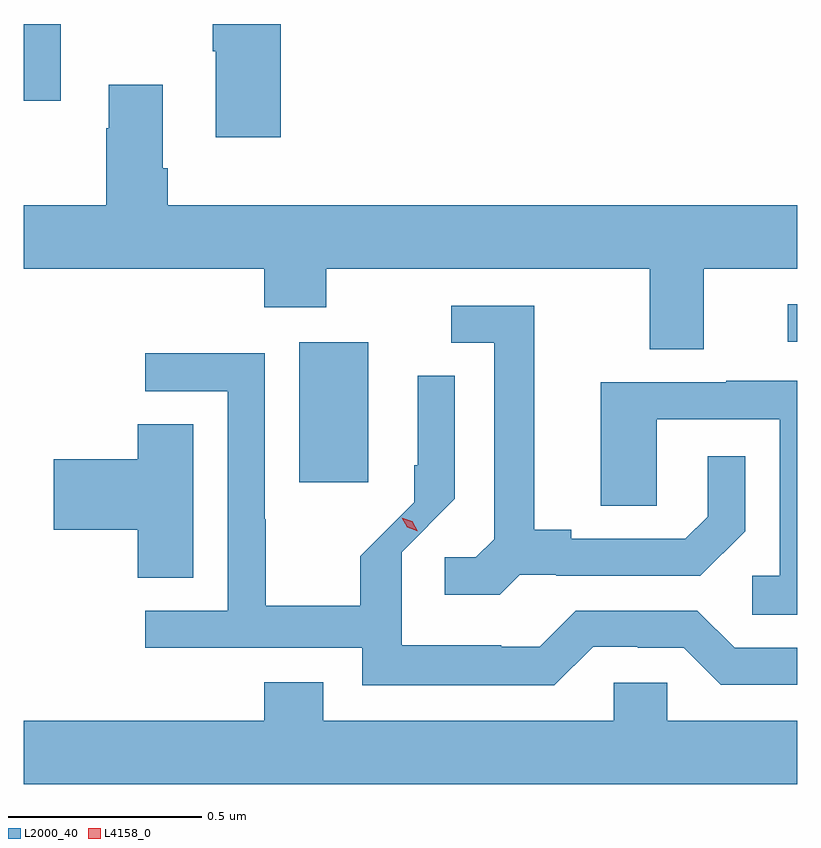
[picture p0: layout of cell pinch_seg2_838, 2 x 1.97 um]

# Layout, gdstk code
import gdstk
lib = gdstk.Library(unit=1e-6, precision=1e-09)
def R(c, l, rs):  # rectangles x0, y0, x1, y1
    for r in rs: c.add(gdstk.rectangle(r[:2], r[2:], *l))
def P(c, l, *ps):  # polygons
    for p in ps: c.add(gdstk.Polygon(p, *l))
L2000_40 = (2000, 40)
L4158_0 = (4158, 0)

pinch_seg2_838 = lib.new_cell('pinch_seg2_838')
R(pinch_seg2_838, L2000_40, [(675.257,592.472,675.436,592.834), (676.521,592.836,676.545,592.932), (674.545,593.459,674.641,593.657)])
P(pinch_seg2_838, L2000_40, [(675.209,593.657),(675.034,593.657),(675.034,593.587),(675.041,593.587),(675.041,593.364),(675.209,593.364)],
  [(676.303,593.024),(676.545,593.024),(676.545,593.188),(674.918,593.188),(674.918,593.284),(674.905,593.284),(674.905,593.5),(674.765,593.5),(674.765,593.387),(674.758,593.387),(674.758,593.188),(674.545,593.188),(674.545,593.024),(675.167,593.024),(675.167,592.925),(675.327,592.925),(675.327,593.024),(676.163,593.024),(676.163,592.816),(676.303,592.816)],
  [(675.828,592.233),(675.922,592.233),(675.922,592.23),(676.294,592.23),(676.41,592.346),(676.41,592.54),(676.313,592.54),(676.313,592.383),(676.256,592.326),(675.961,592.326),(675.961,592.349),(675.865,592.349),(675.865,592.929),(675.651,592.929),(675.651,592.833),(675.761,592.833),(675.761,592.325),(675.714,592.278),(675.633,592.278),(675.633,592.181),(675.776,592.181)],
  [(676.017,592.047),(676.133,592.047),(676.133,592.044),(676.251,592.044),(676.347,591.948),(676.545,591.948),(676.545,592.044),(676.383,592.044),(676.287,592.14),(675.972,592.14),(675.879,592.047),(675.779,592.047),(675.779,592.051),(675.522,592.051),(675.522,592.291),(675.66,592.429),(675.66,592.748),(675.564,592.748),(675.564,592.516),(675.555,592.516),(675.555,592.421),(675.415,592.281),(675.415,592.153),(675.171,592.153),(675.171,592.376),(675.168,592.376),(675.168,592.806),(674.859,592.806),(674.859,592.707),(675.072,592.707),(675.072,592.14),(674.859,592.14),(674.859,592.044),(675.42,592.044),(675.42,591.947),(675.917,591.947)],
  [(676.545,592.735),(676.361,592.735),(676.361,592.731),(676.037,592.731),(676.037,592.411),(676.182,592.411),(676.182,592.635),(676.5,592.635),(676.5,592.23),(676.428,592.23),(676.428,592.129),(676.545,592.129)],
  [(674.983,592.622),(674.84,592.622),(674.84,592.532),(674.622,592.532),(674.622,592.349),(674.84,592.349),(674.84,592.225),(674.983,592.225)],
  [(676.545,591.856),(676.209,591.856),(676.209,591.954),(676.071,591.954),(676.071,591.856),(675.319,591.856),(675.319,591.955),(675.167,591.955),(675.167,591.856),(674.545,591.856),(674.545,591.692),(676.545,591.692)])
P(pinch_seg2_838, L4158_0, [(675.564,592.345),(675.537,592.356),(675.522,592.381),(675.522,592.381),(675.522,592.381),(675.55,592.371),(675.564,592.346),(675.564,592.345)])

lib.write_gds('pinch_seg2_838.gds')
